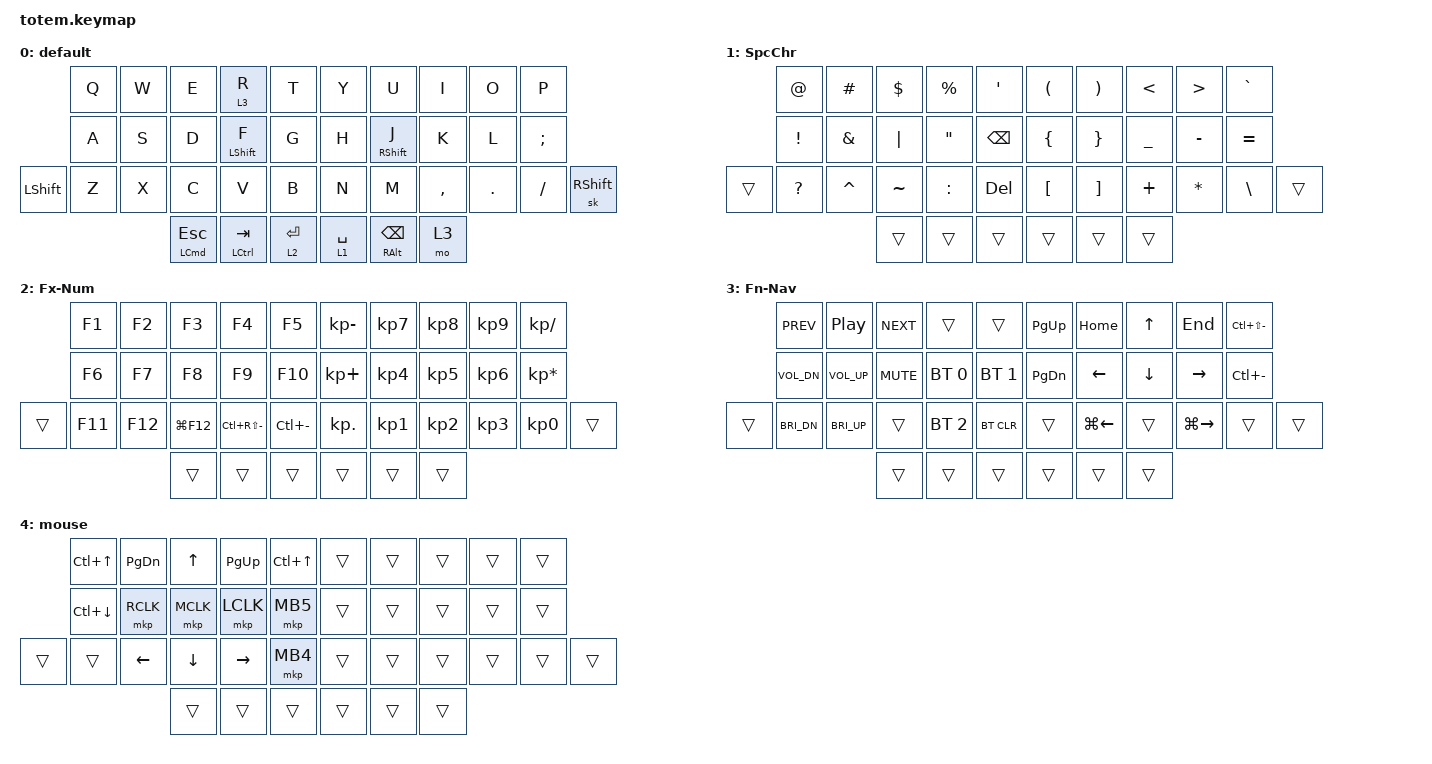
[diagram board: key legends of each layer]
//
//                                                        ▀▀▀▀▀     ▀▀▀▀▀          ▀▀█▀▀
//                                                        ▄▀▀▀▄  ▄  ▄▀▀▀▄  ▄  ▄▀▀▀▄  █  ▄▀▀▀▄
//                                                        █   █  █  █   █  █  █   █  █  █   █
//                                                         ▀▀▀   █   ▀▀▀   █   ▀▀▀   ▀   ▀▀▀
//                                                               █      ▄▄▄█▄▄▄    █   █  
//                                                               ▀      █  █  █     █▄█
//                                                             ▀▀▀▀▀    █  █  █      ▀
//                                                                      ▀  ▀  ▀
//
// ▄▄▄▄▄▄▄▄▄▄▄▄▄▄▄▄▄▄▄▄▄▄▄▄▄▄▄▄▄▄▄▄▄▄▄▄▄▄▄▄▄▄▄▄▄▄▄▄▄▄▄▄▄▄▄▄▄▄▄▄▄▄▄▄▄▄▄▄▄▄▄▄▄▄▄▄▄▄▄▄▄▄▄▄▄▄▄▄▄▄▄▄▄▄▄▄▄▄▄▄▄▄▄▄▄▄▄▄▄▄▄▄▄▄▄▄▄▄▄▄▄▄▄▄▄▄▄▄▄▄▄▄▄▄▄▄▄▄▄▄▄▄▄▄▄▄▄▄▄

#include <behaviors.dtsi>
#include <dt-bindings/zmk/bt.h>
#include <dt-bindings/zmk/keys.h>
#include <dt-bindings/zmk/pointing.h>

#define BASE 0
#define NAV  1
#define SYM  2
#define ADJ  3
#define TVP1 4
#define TVP2 5

/ {
    combos {
        compatible = "zmk,combos";

        combo_opening_parenthesis {
            bindings = <&kp LEFT_PARENTHESIS>;
            key-positions = <13 12>;
        };

        combo_closing_parenthesis {
            bindings = <&kp RIGHT_PARENTHESIS>;
            key-positions = <16 17>;
        };

        combo_opening_curly_brace {
            bindings = <&kp LEFT_BRACE>;
            key-positions = <12 11>;
        };

        combo_closing_curly_brace {
            bindings = <&kp RIGHT_BRACE>;
            key-positions = <17 18>;
        };

        combo_opening_square_bracket {
            bindings = <&kp LEFT_BRACKET>;
            key-positions = <10 11>;
        };

        combo_closing_square_bracket {
            bindings = <&kp RIGHT_BRACKET>;
            key-positions = <18 19>;
        };

        combo_opening_angle_bracket {
            bindings = <&kp LESS_THAN>;
            key-positions = <2 3>;
        };

        combo_closing_angle_bracket {
            bindings = <&kp GREATER_THAN>;
            key-positions = <6 7>;
        };

        combo_equal {
            bindings = <&kp EQUAL>;
            key-positions = <7 8>;
        };

        combo_underscore {
            bindings = <&kp UNDERSCORE>;
            key-positions = <28 29>;
        };

        combo_minus {
            bindings = <&kp MINUS>;
            key-positions = <27 28>;
        };

        combo_single_quote {
            bindings = <&kp SINGLE_QUOTE>;
            key-positions = <29 30>;
        };

        combo_cut_mac {
            bindings = <&kp LG(X)>;
            key-positions = <21 22>;
        };

        combo_copy_mac {
            bindings = <&kp LG(C)>;
            key-positions = <22 23>;
        };

        combo_paste_mac {
            bindings = <&kp LG(V)>;
            key-positions = <24 23>;
        };

        combo_undo_mac {
            bindings = <&kp LG(Z)>;
            key-positions = <24 25>;
        };

        combo_mac_redo {
            bindings = <&kp LG(LS(Z))>;
            key-positions = <26 27>;
        };

        toggle_mouse {
            bindings = <&tog 4>;
            key-positions = <0 34>;
        };

        soft_off_totem {
            bindings = <&soft_off_keyb>;
            key-positions = <0 4>;
        };

        default_layer {
            bindings = <&to 0>;
            key-positions = <20 31>;
        };

        combo_backspace {
            bindings = <&kp BACKSPACE>;
            key-positions = <16 18>;
        };
    };

    behaviors {
        soft_off_keyb: soft_off_keyb {
            compatible = "zmk,behavior-soft-off";
            label = "SOFT_OFF_KEYB";
            #binding-cells = <0>;
            hold-time-ms = <1000>;
            split-peripheral-off-on-press;
        };

        ht_balanced_left: ht_balanced_left {
            compatible = "zmk,behavior-hold-tap";
            label = "HT_BALANCED_LEFT";
            bindings = <&kp>, <&kp>;

            #binding-cells = <2>;
            tapping-term-ms = <200>;
            quick-tap-ms = <100>;
            flavor = "balanced";
            hold-trigger-key-positions = <5 6 7 8 9 15 16 17 18 19 26 27 28 29 30 31 35 36 37>;
            retro-tap;
        };

        ht_balanced_right: ht_balanced_right {
            compatible = "zmk,behavior-hold-tap";
            label = "HT_BALANCED_RIGHT";
            bindings = <&kp>, <&kp>;

            #binding-cells = <2>;
            tapping-term-ms = <200>;
            quick-tap-ms = <100>;
            flavor = "balanced";
            retro-tap;
            hold-trigger-key-positions = <0 1 2 3 4 10 11 12 13 14 20 21 22 23 24 25 32 33 34>;
        };
    };

    keymap {
        compatible = "zmk,keymap";

        // ▄▄▄▄▄▄▄▄▄▄▄▄▄▄▄▄▄▄▄▄▄▄▄▄▄▄▄▄▄▄▄▄▄▄▄▄▄▄▄▄▄▄▄▄▄▄▄▄▄▄▄▄▄▄▄▄▄▄▄▄▄▄▄▄▄▄▄▄▄▄▄▄▄▄▄▄▄▄▄▄▄▄▄▄▄▄▄▄▄▄▄▄▄▄▄▄▄▄▄▄▄▄▄▄▄▄▄▄▄▄▄▄▄▄▄▄▄▄▄▄▄▄▄▄▄▄▄▄▄▄▄▄▄▄▄▄▄▄▄▄▄▄▄▄▄▄▄▄▄

        default_layer {
            label = "default";
            bindings = <
                &kp Q  &kp W  &kp E                    &lt 3 R                         &kp T          &kp Y        &kp U                             &kp I      &kp O    &kp P
                &kp A  &kp S  &kp D                    &ht_balanced_left LEFT_SHIFT F  &kp G          &kp H        &ht_balanced_right RIGHT_SHIFT J  &kp K      &kp L    &kp SEMI
&kp LEFT_SHIFT  &kp Z  &kp X  &kp C                    &kp V                           &kp B          &kp N        &kp M                             &kp COMMA  &kp DOT  &kp FSLH  &sk RIGHT_SHIFT
                              &mt LEFT_COMMAND ESCAPE  &mt LEFT_CONTROL TAB            &lt 2 ENTER    &lt 1 SPACE  &mt RIGHT_ALT BACKSPACE           &mo 3
            >;
        };

        // ▄▄▄▄▄▄▄▄▄▄▄▄▄▄▄▄▄▄▄▄▄▄▄▄▄▄▄▄▄▄▄▄▄▄▄▄▄▄▄▄▄▄▄▄▄▄▄▄▄▄▄▄▄▄▄▄▄▄▄▄▄▄▄▄▄▄▄▄▄▄▄▄▄▄▄▄▄▄▄▄▄▄▄▄▄▄▄▄▄▄▄▄▄▄▄▄▄▄▄▄▄▄▄▄▄▄▄▄▄▄▄▄▄▄▄▄▄▄▄▄▄▄▄▄▄▄▄▄▄▄▄▄▄▄▄▄▄▄▄▄▄▄▄▄▄▄▄▄▄

        special_chars_layer {
            label = "SpcChr";
            bindings = <
        &kp AT           &kp HASH       &kp DOLLAR  &kp PERCENT        &kp SQT          &kp LEFT_PARENTHESIS  &kp RIGHT_PARENTHESIS  &kp LESS_THAN   &kp GREATER_THAN  &kp GRAVE
        &kp EXCLAMATION  &kp AMPERSAND  &kp PIPE    &kp DOUBLE_QUOTES  &kp BACKSPACE    &kp LEFT_BRACE        &kp RIGHT_BRACE        &kp UNDERSCORE  &kp MINUS         &kp EQUAL
&trans  &kp QUESTION     &kp CARET      &kp TILDE   &kp COLON          &kp DEL          &kp LEFT_BRACKET      &kp RIGHT_BRACKET      &kp PLUS        &kp ASTERISK      &kp BACKSLASH  &trans
                                        &trans      &trans             &trans           &trans                &trans                 &trans
            >;
        };

        // ▄▄▄▄▄▄▄▄▄▄▄▄▄▄▄▄▄▄▄▄▄▄▄▄▄▄▄▄▄▄▄▄▄▄▄▄▄▄▄▄▄▄▄▄▄▄▄▄▄▄▄▄▄▄▄▄▄▄▄▄▄▄▄▄▄▄▄▄▄▄▄▄▄▄▄▄▄▄▄▄▄▄▄▄▄▄▄▄▄▄▄▄▄▄▄▄▄▄▄▄▄▄▄▄▄▄▄▄▄▄▄▄▄▄▄▄▄▄▄▄▄▄▄▄▄▄▄▄▄▄▄▄▄▄▄▄▄▄▄▄▄▄▄▄▄▄▄▄▄

        f_and_numpad_layer {
            label = "Fx-Num";
            bindings = <
        &kp F1   &kp F2   &kp F3       &kp F4             &kp F5           &kp KP_MINUS  &kp KP_NUMBER_7  &kp KP_N8  &kp KP_N9  &kp KP_SLASH
        &kp F6   &kp F7   &kp F8       &kp F9             &kp F10          &kp KP_PLUS   &kp KP_N4        &kp KP_N5  &kp KP_N6  &kp KP_MULTIPLY
&trans  &kp F11  &kp F12  &kp LG(F12)  &kp LC(RS(MINUS))  &kp LC(MINUS)    &kp KP_DOT    &kp KP_N1        &kp KP_N2  &kp KP_N3  &kp KP_N0        &trans
                          &trans       &trans             &trans           &trans        &trans           &trans
            >;
        };

        // ▄▄▄▄▄▄▄▄▄▄▄▄▄▄▄▄▄▄▄▄▄▄▄▄▄▄▄▄▄▄▄▄▄▄▄▄▄▄▄▄▄▄▄▄▄▄▄▄▄▄▄▄▄▄▄▄▄▄▄▄▄▄▄▄▄▄▄▄▄▄▄▄▄▄▄▄▄▄▄▄▄▄▄▄▄▄▄▄▄▄▄▄▄▄▄▄▄▄▄▄▄▄▄▄▄▄▄▄▄▄▄▄▄▄▄▄▄▄▄▄▄▄▄▄▄▄▄▄▄▄▄▄▄▄▄▄▄▄▄▄▄▄▄▄▄▄▄▄▄

        func_bt_and_nav_layer {
            label = "Fn-Nav";
            bindings = <
        &kp C_PREV    &kp C_PP         &kp C_NEXT  &trans        &trans          &kp PG_UP  &kp HOME            &kp UP_ARROW  &kp END              &kp LC(LS(MINUS))
        &kp C_VOL_DN  &kp C_VOLUME_UP  &kp C_MUTE  &bt BT_SEL 0  &bt BT_SEL 1    &kp PG_DN  &kp LEFT            &kp DOWN      &kp RIGHT            &kp LC(MINUS)
&trans  &kp C_BRI_DN  &kp C_BRI_UP     &trans      &bt BT_SEL 2  &bt BT_CLR      &trans     &kp LG(LEFT_ARROW)  &trans        &kp LG(RIGHT_ARROW)  &trans             &trans
                                       &trans      &trans        &trans          &trans     &trans              &trans
            >;
        };

        // ▄▄▄▄▄▄▄▄▄▄▄▄▄▄▄▄▄▄▄▄▄▄▄▄▄▄▄▄▄▄▄▄▄▄▄▄▄▄▄▄▄▄▄▄▄▄▄▄▄▄▄▄▄▄▄▄▄▄▄▄▄▄▄▄▄▄▄▄▄▄▄▄▄▄▄▄▄▄▄▄▄▄▄▄▄▄▄▄▄▄▄▄▄▄▄▄▄▄▄▄▄▄▄▄▄▄▄▄▄▄▄▄▄▄▄▄▄▄▄▄▄▄▄▄▄▄▄▄▄▄▄▄▄▄▄▄▄▄▄▄▄▄▄▄▄▄▄▄▄

        mouse {
            label = "mouse";
            bindings = <
        &kp LC(UP_ARROW)  &kp PAGE_DOWN  &kp UP_ARROW    &kp PG_UP  &kp LC(UP_ARROW)    &trans  &trans  &trans  &trans  &trans
        &kp LC(DOWN)      &mkp RCLK      &mkp MCLK       &mkp LCLK  &mkp MB5            &trans  &trans  &trans  &trans  &trans
&trans  &trans            &kp LEFT       &kp DOWN_ARROW  &kp RIGHT  &mkp MB4            &trans  &trans  &trans  &trans  &trans  &trans
                                         &trans          &trans     &trans              &trans  &trans  &trans
            >;
        };

        // ▄▄▄▄▄▄▄▄▄▄▄▄▄▄▄▄▄▄▄▄▄▄▄▄▄▄▄▄▄▄▄▄▄▄▄▄▄▄▄▄▄▄▄▄▄▄▄▄▄▄▄▄▄▄▄▄▄▄▄▄▄▄▄▄▄▄▄▄▄▄▄▄▄▄▄▄▄▄▄▄▄▄▄▄▄▄▄▄▄▄▄▄▄▄▄▄▄▄▄▄▄▄▄▄▄▄▄▄▄▄▄▄▄▄▄▄▄▄▄▄▄▄▄▄▄▄▄▄▄▄▄▄▄▄▄▄▄▄▄▄▄▄▄▄▄▄▄▄▄
    };
};
